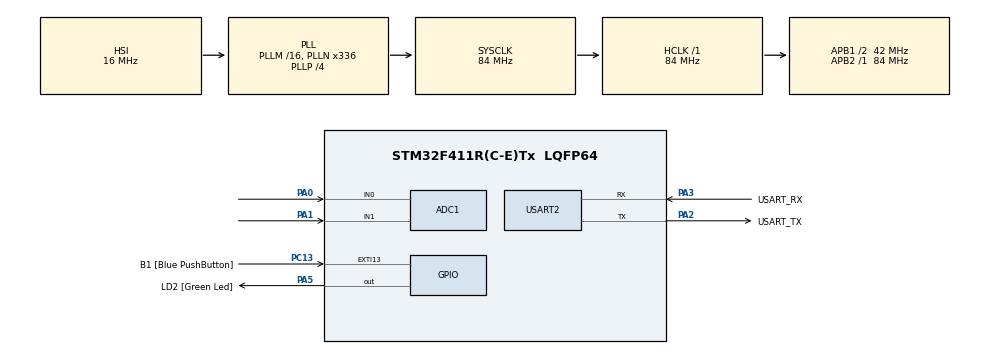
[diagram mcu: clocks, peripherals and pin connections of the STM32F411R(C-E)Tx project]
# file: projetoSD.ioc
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ADC1.Channel-0\#ChannelRegularConversion=ADC_CHANNEL_0
ADC1.Channel-1\#ChannelRegularConversion=ADC_CHANNEL_1
ADC1.NbrOfConversion=2
ADC1.NbrOfConversionFlag=1
ADC1.Rank-0\#ChannelRegularConversion=1
ADC1.Rank-1\#ChannelRegularConversion=2
ADC1.SamplingTime-0\#ChannelRegularConversion=ADC_SAMPLETIME_3CYCLES
ADC1.SamplingTime-1\#ChannelRegularConversion=ADC_SAMPLETIME_3CYCLES
ADC1.master=1
Mcu.Family=STM32F4
Mcu.Name=STM32F411R(C-E)Tx
Mcu.Package=LQFP64
NVIC.PriorityGroup=NVIC_PRIORITYGROUP_0
PA0-WKUP.Signal=ADCx_IN0
PA1.Signal=ADCx_IN1
PA13.GPIO_Label=TMS
PA13.Mode=Serial_Wire
PA13.Signal=SYS_JTMS-SWDIO
PA14.GPIO_Label=TCK
PA14.Mode=Serial_Wire
PA14.Signal=SYS_JTCK-SWCLK
PA2.GPIO_Label=USART_TX
PA2.Mode=Asynchronous
PA2.Signal=USART2_TX
PA3.GPIO_Label=USART_RX
PA3.Mode=Asynchronous
PA3.Signal=USART2_RX
PA5.GPIO_Label=LD2 [Green Led]
PA5.Signal=GPIO_Output
PB3.GPIO_Label=SWO
PB3.Signal=SYS_JTDO-SWO
PC13-ANTI_TAMP.GPIO_Label=B1 [Blue PushButton]
PC13-ANTI_TAMP.GPIO_ModeDefaultEXTI=GPIO_MODE_IT_FALLING
PC13-ANTI_TAMP.Signal=GPXTI13
PC14-OSC32_IN.Mode=LSE-External-Oscillator
PC14-OSC32_IN.Signal=RCC_OSC32_IN
PC15-OSC32_OUT.Mode=LSE-External-Oscillator
PC15-OSC32_OUT.Signal=RCC_OSC32_OUT
PH0\ -\ OSC_IN.Mode=HSE-External-Clock-Source
PH0\ -\ OSC_IN.Signal=RCC_OSC_IN
PH1\ -\ OSC_OUT.Mode=HSE-External-Clock-Source
PH1\ -\ OSC_OUT.Signal=RCC_OSC_OUT
ProjectManager.HeapSize=0x200
ProjectManager.StackSize=0x400
ProjectManager.TargetToolchain=STM32CubeIDE
RCC.48MHZClocksFreq_Value=84000000
RCC.AHBFreq_Value=84000000
RCC.APB1CLKDivider=RCC_HCLK_DIV2
RCC.APB1Freq_Value=42000000
RCC.APB1TimFreq_Value=84000000
RCC.APB2Freq_Value=84000000
RCC.APB2TimFreq_Value=84000000
RCC.CortexFreq_Value=84000000
RCC.FLatency-AdvancedSettings=FLASH_LATENCY_2
RCC.HCLKFreq_Value=84000000
RCC.HSE_VALUE=8000000
RCC.HSI_VALUE=16000000
RCC.PLLN=336
RCC.PLLP=RCC_PLLP_DIV4
RCC.SYSCLKFreq_VALUE=84000000
RCC.SYSCLKSource=RCC_SYSCLKSOURCE_PLLCLK
RCC.VCOOutputFreq_Value=336000000
SH.ADCx_IN0.0=ADC1_IN0,IN0
SH.ADCx_IN1.0=ADC1_IN1,IN1
USART2.VirtualMode=VM_ASYNC
board=NUCLEO-F411RE

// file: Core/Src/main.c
/* USER CODE BEGIN Header */
/**
  ******************************************************************************
  * @file           : main.c
  * @brief          : Main program body
  ******************************************************************************
  * @attention
  *
  * Copyright (c) 2025 STMicroelectronics.
  * All rights reserved.
  *
  * This software is licensed under terms that can be found in the LICENSE file
  * in the root directory of this software component.
  * If no LICENSE file comes with this software, it is provided AS-IS.
  *
  ******************************************************************************
  */
/* USER CODE END Header */
#include "main.h"
#include <stdio.h>
#include "string.h"
#include <math.h>

/* USER CODE BEGIN Includes */

// ---- Configurações do sensor ----
#define R25       10000.0f     // resistência da NTC a 25°C
#define BETA      3950.0f      // constante Beta
#define R_PULLUP  10000.0f     // seu resistor de pull-up
#define VREF      3.3f         // tensão da Nucleo

/* USER CODE END Includes */

ADC_HandleTypeDef hadc1;

UART_HandleTypeDef huart2;

/* USER CODE BEGIN PV */
uint32_t adc_ch0, adc_ch1;
float temperature1, temperature2;
char msg[64];

/* USER CODE END PV */

void SystemClock_Config(void);
static void MX_GPIO_Init(void);
static void MX_USART2_UART_Init(void);
static void MX_ADC1_Init(void);

int main(void)
{

  /* MCU Configuration--------------------------------------------------------*/

  /* Reset of all peripherals, Initializes the Flash interface and the Systick. */
  HAL_Init();

  /* Configure the system clock */
  SystemClock_Config();

  /* Initialize all configured peripherals */
  MX_GPIO_Init();
  MX_USART2_UART_Init();
  MX_ADC1_Init();
  /* USER CODE BEGIN 2 */

  uint32_t read_adc(uint32_t channel)
  {
      ADC_ChannelConfTypeDef sConfig = {0};

      sConfig.Channel = channel;
      sConfig.Rank = 1;
      sConfig.SamplingTime = ADC_SAMPLETIME_15CYCLES;

      HAL_ADC_ConfigChannel(&hadc1, &sConfig);

      HAL_ADC_Start(&hadc1);
      HAL_ADC_PollForConversion(&hadc1, HAL_MAX_DELAY);
      uint32_t val = HAL_ADC_GetValue(&hadc1);
      HAL_ADC_Stop(&hadc1);

      return val;
  }

  float read_temperature_ntc(uint32_t adc_value)
  {
      // Converter ADC -> tensão
      float V = (adc_value / 4095.0f) * VREF;

      // Proteção contra divisão por zero
      if (V <= 0.0001f) V = 0.0001f;
      if (V >= (VREF - 0.0001f)) V = VREF - 0.0001f;

      // CORREÇÃO: resistência da NTC no divisor pull-up -> NTC->GND
      // Rntc = Rpullup * ( V / (Vref - V) )
      float Rntc = R_PULLUP * ( V / (VREF - V) );

      // Equação Beta
      float T0 = 298.15f; // 25°C em Kelvin
      float tempK = 1.0f / ( (1.0f / T0) + (1.0f / BETA) * logf(Rntc / R25) );

      return tempK - 273.15f; // Celsius
  }

  /* USER CODE END 2 */

  /* Infinite loop */
  while (1)
  {

    /* USER CODE BEGIN 3 */
	  //iniciando o ADC
	  HAL_ADC_Start(&hadc1);

	  //leituras dos adcs
	  adc_ch0 = read_adc(ADC_CHANNEL_0);
	  adc_ch1 = read_adc(ADC_CHANNEL_1);

	  // Temperaturas
	  temperature1 = read_temperature_ntc(adc_ch0);
	  temperature2 = read_temperature_ntc(adc_ch1);

	  sprintf(msg, "T1: %.2f C  |  T2: %.2f C\r\n", temperature1, temperature2);
	  HAL_UART_Transmit(&huart2, (uint8_t*)msg, strlen(msg), HAL_MAX_DELAY);

	  HAL_Delay(200);
  }
  /* USER CODE END 3 */
}

void SystemClock_Config(void)
{
  RCC_OscInitTypeDef RCC_OscInitStruct = {0};
  RCC_ClkInitTypeDef RCC_ClkInitStruct = {0};

  /** Configure the main internal regulator output voltage
  */
  __HAL_RCC_PWR_CLK_ENABLE();
  __HAL_PWR_VOLTAGESCALING_CONFIG(PWR_REGULATOR_VOLTAGE_SCALE1);

  /** Initializes the RCC Oscillators according to the specified parameters
  * in the RCC_OscInitTypeDef structure.
  */
  RCC_OscInitStruct.OscillatorType = RCC_OSCILLATORTYPE_HSI;
  RCC_OscInitStruct.HSIState = RCC_HSI_ON;
  RCC_OscInitStruct.HSICalibrationValue = RCC_HSICALIBRATION_DEFAULT;
  RCC_OscInitStruct.PLL.PLLState = RCC_PLL_ON;
  RCC_OscInitStruct.PLL.PLLSource = RCC_PLLSOURCE_HSI;
  RCC_OscInitStruct.PLL.PLLM = 16;
  RCC_OscInitStruct.PLL.PLLN = 336;
  RCC_OscInitStruct.PLL.PLLP = RCC_PLLP_DIV4;
  RCC_OscInitStruct.PLL.PLLQ = 4;
  if (HAL_RCC_OscConfig(&RCC_OscInitStruct) != HAL_OK)
  {
    Error_Handler();
  }

  /** Initializes the CPU, AHB and APB buses clocks
  */
  RCC_ClkInitStruct.ClockType = RCC_CLOCKTYPE_HCLK|RCC_CLOCKTYPE_SYSCLK
                              |RCC_CLOCKTYPE_PCLK1|RCC_CLOCKTYPE_PCLK2;
  RCC_ClkInitStruct.SYSCLKSource = RCC_SYSCLKSOURCE_PLLCLK;
  RCC_ClkInitStruct.AHBCLKDivider = RCC_SYSCLK_DIV1;
  RCC_ClkInitStruct.APB1CLKDivider = RCC_HCLK_DIV2;
  RCC_ClkInitStruct.APB2CLKDivider = RCC_HCLK_DIV1;

  if (HAL_RCC_ClockConfig(&RCC_ClkInitStruct, FLASH_LATENCY_2) != HAL_OK)
  {
    Error_Handler();
  }
}

static void MX_ADC1_Init(void)
{

  ADC_ChannelConfTypeDef sConfig = {0};

  /** Configure the global features of the ADC (Clock, Resolution, Data Alignment and number of conversion)
  */
  hadc1.Instance = ADC1;
  hadc1.Init.ClockPrescaler = ADC_CLOCK_SYNC_PCLK_DIV4;
  hadc1.Init.Resolution = ADC_RESOLUTION_12B;
  hadc1.Init.ScanConvMode = DISABLE;
  hadc1.Init.ContinuousConvMode = DISABLE;
  hadc1.Init.DiscontinuousConvMode = DISABLE;
  hadc1.Init.ExternalTrigConvEdge = ADC_EXTERNALTRIGCONVEDGE_NONE;
  hadc1.Init.ExternalTrigConv = ADC_SOFTWARE_START;
  hadc1.Init.DataAlign = ADC_DATAALIGN_RIGHT;
  hadc1.Init.NbrOfConversion = 1;
  hadc1.Init.DMAContinuousRequests = DISABLE;
  hadc1.Init.EOCSelection = ADC_EOC_SINGLE_CONV;
  if (HAL_ADC_Init(&hadc1) != HAL_OK)
  {
    Error_Handler();
  }

  /** Configure for the selected ADC regular channel its corresponding rank in the sequencer and its sample time.
  */
  sConfig.Channel = ADC_CHANNEL_0;
  sConfig.Rank = 1;
  sConfig.SamplingTime = ADC_SAMPLETIME_3CYCLES;
  if (HAL_ADC_ConfigChannel(&hadc1, &sConfig) != HAL_OK)
  {
    Error_Handler();
  }

  /** Configure for the selected ADC regular channel its corresponding rank in the sequencer and its sample time.
  */
  sConfig.Channel = ADC_CHANNEL_1;
  sConfig.Rank = 2;
  if (HAL_ADC_ConfigChannel(&hadc1, &sConfig) != HAL_OK)
  {
    Error_Handler();
  }

}

static void MX_USART2_UART_Init(void)
{

  huart2.Instance = USART2;
  huart2.Init.BaudRate = 115200;
  huart2.Init.WordLength = UART_WORDLENGTH_8B;
  huart2.Init.StopBits = UART_STOPBITS_1;
  huart2.Init.Parity = UART_PARITY_NONE;
  huart2.Init.Mode = UART_MODE_TX_RX;
  huart2.Init.HwFlowCtl = UART_HWCONTROL_NONE;
  huart2.Init.OverSampling = UART_OVERSAMPLING_16;
  if (HAL_UART_Init(&huart2) != HAL_OK)
  {
    Error_Handler();
  }

}

static void MX_GPIO_Init(void)
{
  GPIO_InitTypeDef GPIO_InitStruct = {0};

  /* GPIO Ports Clock Enable */
  __HAL_RCC_GPIOC_CLK_ENABLE();
  __HAL_RCC_GPIOH_CLK_ENABLE();
  __HAL_RCC_GPIOA_CLK_ENABLE();
  __HAL_RCC_GPIOB_CLK_ENABLE();

  /*Configure GPIO pin Output Level */
  HAL_GPIO_WritePin(LD2_GPIO_Port, LD2_Pin, GPIO_PIN_RESET);

  /*Configure GPIO pin : B1_Pin */
  GPIO_InitStruct.Pin = B1_Pin;
  GPIO_InitStruct.Mode = GPIO_MODE_IT_FALLING;
  GPIO_InitStruct.Pull = GPIO_NOPULL;
  HAL_GPIO_Init(B1_GPIO_Port, &GPIO_InitStruct);

  /*Configure GPIO pin : LD2_Pin */
  GPIO_InitStruct.Pin = LD2_Pin;
  GPIO_InitStruct.Mode = GPIO_MODE_OUTPUT_PP;
  GPIO_InitStruct.Pull = GPIO_NOPULL;
  GPIO_InitStruct.Speed = GPIO_SPEED_FREQ_LOW;
  HAL_GPIO_Init(LD2_GPIO_Port, &GPIO_InitStruct);

}

void Error_Handler(void)
{
  __disable_irq();
  while (1)
  {
  }
}
